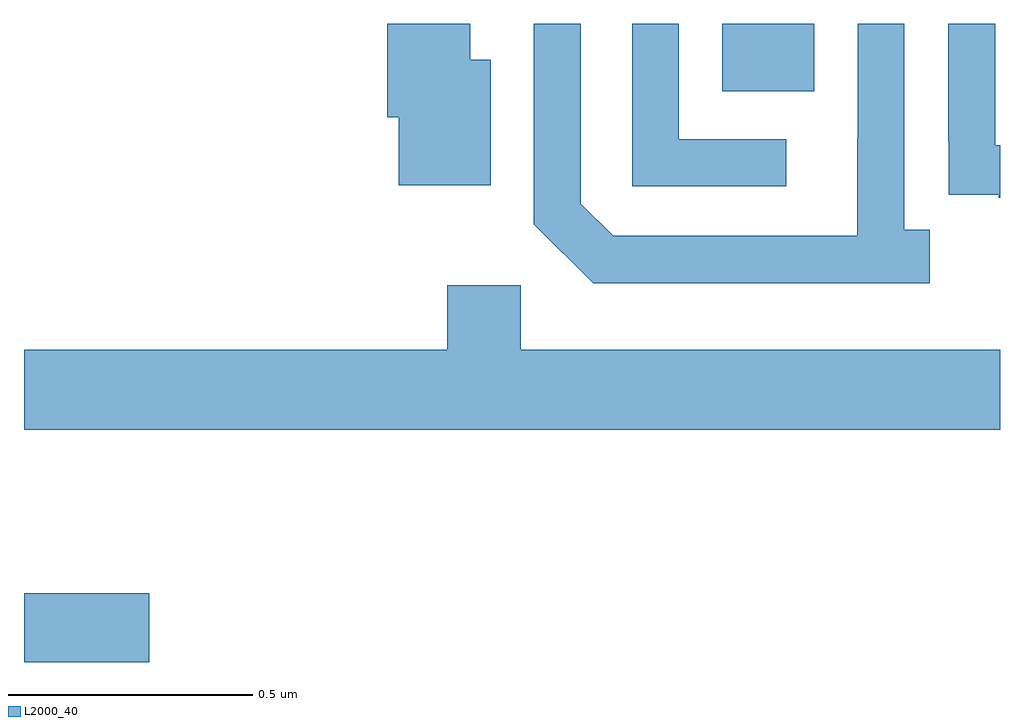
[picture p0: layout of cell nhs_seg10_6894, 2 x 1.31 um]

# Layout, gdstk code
import gdstk
lib = gdstk.Library(unit=1e-6, precision=1e-09)
def R(c, l, rs):  # rectangles x0, y0, x1, y1
    for r in rs: c.add(gdstk.rectangle(r[:2], r[2:], *l))
def P(c, l, *ps):  # polygons
    for p in ps: c.add(gdstk.Polygon(p, *l))
L2000_40 = (2000, 40)

nhs_seg10_6894 = lib.new_cell('nhs_seg10_6894')
R(nhs_seg10_6894, L2000_40, [(197,1281.191,197.257,1281.333), (198.431,1282.361,198.619,1282.5)])
P(nhs_seg10_6894, L2000_40, [(198.856,1282.078),(198.804,1282.078),(198.804,1282.5),(198.708,1282.5),(198.708,1282.265),(198.707,1282.265),(198.707,1282.065),(198.207,1282.065),(198.141,1282.131),(198.141,1282.5),(198.045,1282.5),(198.045,1282.089),(198.166,1281.968),(198.856,1281.968)],
  [(199,1282.251),(198.99,1282.251),(198.99,1282.5),(198.894,1282.5),(198.894,1282.258),(198.895,1282.258),(198.895,1282.149),(198.997,1282.149),(198.997,1282.143),(199,1282.143)],
  [(198.562,1282.263),(198.342,1282.263),(198.342,1282.5),(198.246,1282.5),(198.246,1282.167),(198.562,1282.167)],
  [(197.956,1282.426),(197.914,1282.426),(197.914,1282.5),(197.744,1282.5),(197.744,1282.308),(197.768,1282.308),(197.768,1282.169),(197.956,1282.169)],
  [(199,1281.832),(198.018,1281.832),(198.018,1281.964),(197.867,1281.964),(197.867,1281.832),(197,1281.832),(197,1281.668),(199,1281.668)])

lib.write_gds('nhs_seg10_6894.gds')
